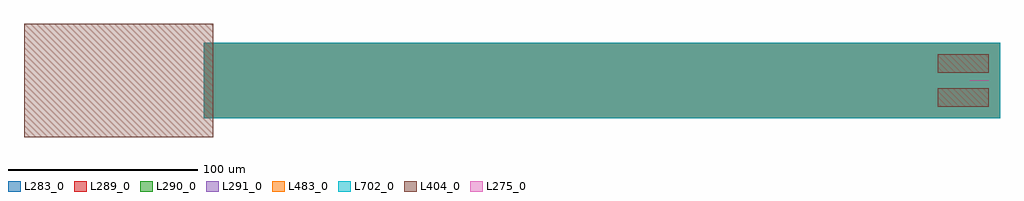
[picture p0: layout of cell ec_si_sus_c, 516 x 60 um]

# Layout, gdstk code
import gdstk
lib = gdstk.Library(unit=1e-6, precision=1e-09)
def R(c, l, rs):  # rectangles x0, y0, x1, y1
    for r in rs: c.add(gdstk.rectangle(r[:2], r[2:], *l))
L275_0 = (275, 0)
L283_0 = (283, 0)
L289_0 = (289, 0)
L290_0 = (290, 0)
L291_0 = (291, 0)
L404_0 = (404, 0)
L483_0 = (483, 0)
L702_0 = (702, 0)

ec_si_sus_c = lib.new_cell('ec_si_sus_c')
R(ec_si_sus_c, L275_0, [(500,10.992,510,11.442)])
R(ec_si_sus_c, L283_0, [(95,-8.783,516,31.217)])
R(ec_si_sus_c, L289_0, [(95,-8.783,516,31.217)])
R(ec_si_sus_c, L290_0, [(95,-8.783,516,31.217)])
R(ec_si_sus_c, L291_0, [(95,-8.783,516,31.217)])
R(ec_si_sus_c, L404_0, [(0,-18.783,100,41.217), (483,-2.783,510,7.217), (483,15.217,510,25.217)])
R(ec_si_sus_c, L483_0, [(95,-8.783,516,31.217)])
R(ec_si_sus_c, L702_0, [(95,-8.783,516,31.217)])

lib.write_gds('ec_si_sus_c.gds')
